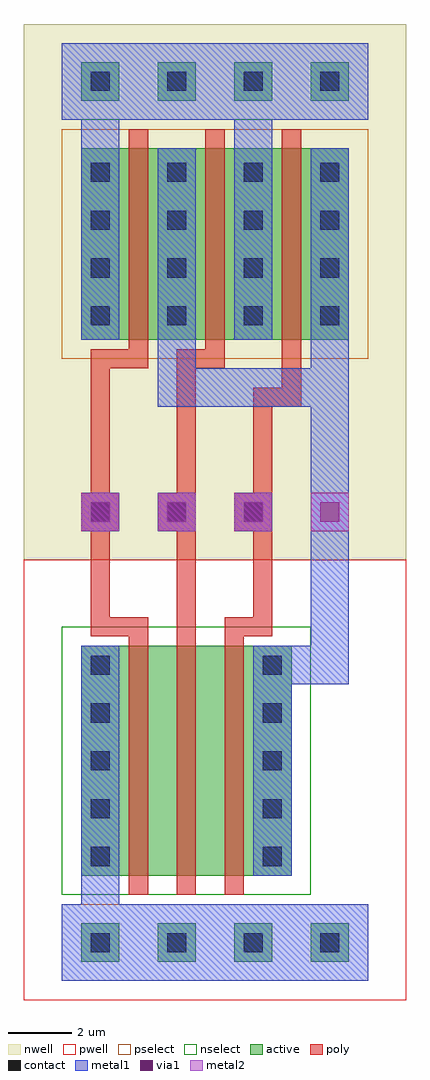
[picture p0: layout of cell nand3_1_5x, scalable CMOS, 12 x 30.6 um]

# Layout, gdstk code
import gdstk
lib = gdstk.Library(unit=1e-6, precision=1e-09)
def R(c, l, rs):  # rectangles x0, y0, x1, y1
    for r in rs: c.add(gdstk.rectangle(r[:2], r[2:], *l))
def A(c, l, x, y, w, h, nx, ny, dx, dy):  # array of equal rectangles
    R(c, l, [(x+i*dx, y+j*dy, x+i*dx+w, y+j*dy+h) for i in range(nx) for j in range(ny)])
contact = (25, 0)
pwell = (41, 0)
nwell = (42, 0)
active = (43, 0)
pselect = (44, 0)
nselect = (45, 0)
poly = (46, 0)
metal1 = (49, 0)
via1 = (50, 0)
metal2 = (51, 0)

nand3_1_5x = lib.new_cell('nand3_1_5x')
A(nand3_1_5x, contact, 0.3, -0.3, 0.6, 0.6, 4, 2, 2.4, 19.65)
A(nand3_1_5x, contact, 0.3, 2.4, 0.6, 0.6, 1, 5, 0, 1.5)
A(nand3_1_5x, contact, 5.7, 2.4, 0.6, 0.6, 1, 5, 0, 1.5)
A(nand3_1_5x, contact, 0.3, 13.2, 0.6, 0.6, 3, 1, 2.4, 0)
A(nand3_1_5x, contact, 0.3, 20.85, 0.6, 0.6, 4, 3, 2.4, 1.5)
A(nand3_1_5x, contact, 0.3, 26.7, 0.6, 0.6, 4, 1, 2.4, 0)
A(nand3_1_5x, pwell, -0.9, -1.5, 3, 3, 4, 1, 2.4, 0)
A(nand3_1_5x, pwell, -1.2, 0.3, 6, 10.8, 3, 1, 1.5, 0)
R(nand3_1_5x, pwell, [(-1.8,-1.8,10.2,12), (-1.8,0.3,3,11.1), (3.6,0.3,8.4,11.1), (-1.65,3.15,2.925,7.65), (1.425,3.45,6.675,7.95), (3.675,3.45,8.25,7.95), (-0.075,3.75,5.175,8.25)])
A(nand3_1_5x, nwell, -1.8, 17.1, 4.8, 9.6, 4, 1, 2.4, 0)
A(nand3_1_5x, nwell, -1.2, 17.1, 6, 9.6, 3, 1, 2.4, 0)
A(nand3_1_5x, nwell, -0.9, 25.5, 3, 3, 4, 1, 2.4, 0)
R(nand3_1_5x, nwell, [(-1.8,12,10.2,28.8), (-1.65,19.65,2.925,24.15), (0.675,19.65,5.25,24.15), (0.75,19.65,5.325,24.15), (3.075,19.95,7.65,24.45), (3.15,19.95,7.725,24.45), (5.475,19.95,10.05,24.45)])
A(nand3_1_5x, active, 0, -0.6, 1.2, 1.2, 4, 2, 2.4, 27)
A(nand3_1_5x, active, 0.6, 2.1, 2.4, 7.2, 3, 1, 1.5, 0)
A(nand3_1_5x, active, 0, 18.9, 1.2, 6, 4, 1, 2.4, 0)
A(nand3_1_5x, active, 0.6, 18.9, 2.4, 6, 3, 1, 2.4, 0)
R(nand3_1_5x, active, [(0,2.1,1.2,9.3), (5.4,2.1,6.6,9.3), (0.15,4.95,1.125,5.85), (3.225,5.25,4.875,6.15), (5.475,5.25,6.45,6.15), (1.725,5.55,3.375,6.45), (0.15,21.45,1.125,22.35), (2.475,21.45,3.45,22.35), (2.55,21.45,3.525,22.35), (4.875,21.75,5.85,22.65), (4.95,21.75,5.925,22.65), (7.275,21.75,8.25,22.65)])
A(nand3_1_5x, pselect, -0.6, -1.2, 2.4, 2.4, 4, 1, 2.4, 0)
A(nand3_1_5x, pselect, -0.6, 18.3, 2.4, 7.2, 4, 1, 2.4, 0)
A(nand3_1_5x, pselect, 0, 18.3, 3.6, 7.2, 3, 1, 2.4, 0)
R(nand3_1_5x, pselect, [(-0.45,20.85,1.725,22.95), (1.875,20.85,4.05,22.95), (1.95,20.85,4.125,22.95), (4.275,21.15,6.45,23.25), (4.35,21.15,6.525,23.25), (6.675,21.15,8.85,23.25)])
A(nand3_1_5x, nselect, 0, 1.5, 3.6, 8.4, 3, 1, 1.5, 0)
A(nand3_1_5x, nselect, -0.6, 25.8, 2.4, 2.4, 4, 1, 2.4, 0)
R(nand3_1_5x, nselect, [(-0.6,1.5,1.8,9.9), (4.8,1.5,7.2,9.9), (-0.45,4.35,1.725,6.45), (2.625,4.65,5.475,6.75), (4.875,4.65,7.05,6.75), (1.125,4.95,3.975,7.05)])
A(nand3_1_5x, poly, 1.5, 1.5, 0.6, 8.4, 3, 1, 1.5, 0)
A(nand3_1_5x, poly, 0, 12.9, 1.2, 1.2, 3, 1, 2.4, 0)
A(nand3_1_5x, poly, 1.5, 18.3, 0.6, 7.2, 3, 1, 2.4, 0)
R(nand3_1_5x, poly, [(0.3,9.6,0.9,13.8), (0.3,9.6,2.1,10.2), (3,9.6,3.6,13.8), (4.5,9.6,6,10.2), (5.4,9.6,6,13.8), (0.3,13.2,0.9,18.6), (2.7,13.2,3.6,13.8), (3,13.2,3.6,18.6), (5.1,13.2,6,13.8), (5.4,13.2,6,17.4), (5.4,16.8,6.9,17.4), (6.3,16.8,6.9,18.6), (0.3,18,2.1,18.6), (3,18,4.5,18.6)])
A(nand3_1_5x, metal1, -0.6, -1.2, 4.8, 2.4, 3, 2, 2.4, 27)
A(nand3_1_5x, metal1, 0, -0.6, 1.2, 1.2, 4, 2, 2.4, 27)
A(nand3_1_5x, metal1, 0, 18.9, 1.2, 6, 4, 1, 2.4, 0)
R(nand3_1_5x, metal1, [(-0.6,-1.2,1.8,1.2), (-0.6,-1.2,4.2,1.2), (0,-0.6,1.2,3.15), (0,2.1,1.2,9.3), (5.4,2.1,6.6,9.3), (5.4,8.1,8.4,9.3), (7.2,8.1,8.4,14.1), (0,12.9,1.2,14.1), (0,12.9,1.2,14.1), (0,12.9,1.2,14.1), (2.4,12.9,3.6,14.1), (2.4,12.9,3.6,14.1), (4.8,12.9,6,14.1), (4.8,12.9,6,14.1), (7.2,12.9,8.4,14.1), (7.2,12.9,8.4,18), (2.55,13.05,3.45,13.95), (4.95,13.05,5.85,13.95), (2.4,16.8,3.6,22.5), (2.4,16.8,8.4,18), (7.2,16.8,8.4,19.95), (0,23.85,1.2,27.6), (4.8,23.85,6,27.6), (-0.6,25.8,1.8,28.2), (0,26.4,1.2,27.6), (4.8,26.4,8.4,27.6), (7.2,26.4,8.4,27.6)])
A(nand3_1_5x, via1, 0.3, 13.2, 0.6, 0.6, 4, 1, 2.4, 0)
A(nand3_1_5x, metal2, 0, 12.9, 1.2, 1.2, 4, 1, 2.4, 0)

lib.write_gds('nand3_1_5x.gds')
